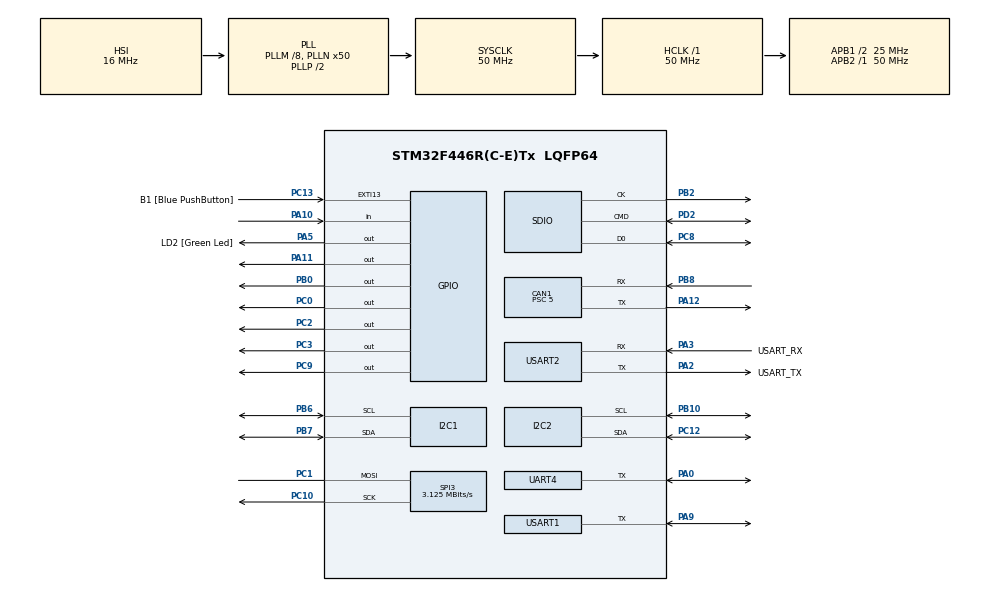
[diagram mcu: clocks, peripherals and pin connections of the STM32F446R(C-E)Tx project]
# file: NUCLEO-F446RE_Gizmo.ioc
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CAN1.BS1=CAN_BS1_8TQ
CAN1.CalculateBaudRate=500000
CAN1.CalculateTimeBit=2000
CAN1.CalculateTimeQuantum=200.0
CAN1.Mode=CAN_MODE_NORMAL
CAN1.Prescaler=5
CAN1.SJW=CAN_SJW_1TQ
Dma.Request0=USART2_RX
Dma.Request1=USART2_TX
Dma.USART2_RX.0.Direction=DMA_PERIPH_TO_MEMORY
Dma.USART2_RX.0.FIFOMode=DMA_FIFOMODE_DISABLE
Dma.USART2_RX.0.Instance=DMA1_Stream5
Dma.USART2_RX.0.MemDataAlignment=DMA_MDATAALIGN_BYTE
Dma.USART2_RX.0.MemInc=DMA_MINC_ENABLE
Dma.USART2_RX.0.Mode=DMA_NORMAL
Dma.USART2_RX.0.PeriphDataAlignment=DMA_PDATAALIGN_BYTE
Dma.USART2_RX.0.PeriphInc=DMA_PINC_DISABLE
Dma.USART2_RX.0.Priority=DMA_PRIORITY_LOW
Dma.USART2_TX.1.Direction=DMA_MEMORY_TO_PERIPH
Dma.USART2_TX.1.FIFOMode=DMA_FIFOMODE_DISABLE
Dma.USART2_TX.1.Instance=DMA1_Stream6
Dma.USART2_TX.1.MemDataAlignment=DMA_MDATAALIGN_BYTE
Dma.USART2_TX.1.MemInc=DMA_MINC_ENABLE
Dma.USART2_TX.1.Mode=DMA_NORMAL
Dma.USART2_TX.1.PeriphDataAlignment=DMA_PDATAALIGN_BYTE
Dma.USART2_TX.1.PeriphInc=DMA_PINC_DISABLE
Dma.USART2_TX.1.Priority=DMA_PRIORITY_LOW
FATFS.BSP.number=1
FATFS._MAX_SS=4096
FATFS._USE_LFN=1
FATFS0.BSP.STBoard=false
FATFS0.BSP.api=Unknown
FATFS0.BSP.instance=PA10
FATFS0.BSP.ip=GPIO
FATFS0.BSP.mode=Input
FATFS0.BSP.name=Detect_SDIO
FATFS0.BSP.solution=PA10
I2C1.I2C_Mode=I2C_Standard
Mcu.Family=STM32F4
Mcu.Name=STM32F446R(C-E)Tx
Mcu.Package=LQFP64
NVIC.CAN1_RX0_IRQn=true\:0\:0\:false\:false\:true\:true\:true\:true
NVIC.DMA1_Stream5_IRQn=true\:0\:0\:false\:false\:true\:false\:true\:true
NVIC.DMA1_Stream6_IRQn=true\:0\:0\:false\:false\:true\:false\:true\:true
NVIC.PriorityGroup=NVIC_PRIORITYGROUP_0
NVIC.RTC_Alarm_IRQn=true\:0\:0\:false\:false\:true\:true\:true\:true
NVIC.SPI3_IRQn=true\:0\:0\:false\:false\:true\:true\:true\:true
NVIC.USART2_IRQn=true\:0\:0\:false\:false\:true\:true\:true\:true
PA0-WKUP.GPIO_PuPd=GPIO_PULLUP
PA0-WKUP.Mode=Half_duplex(single_wire_mode)
PA0-WKUP.Signal=UART4_TX
PA10.GPIO_PuPd=GPIO_PULLDOWN
PA10.Signal=GPIO_Input
PA11.Signal=GPIO_Output
PA12.Mode=CAN_Activate
PA12.Signal=CAN1_TX
PA13.GPIO_Label=TMS
PA13.Mode=Serial_Wire
PA13.Signal=SYS_JTMS-SWDIO
PA14.GPIO_Label=TCK
PA14.Mode=Serial_Wire
PA14.Signal=SYS_JTCK-SWCLK
PA2.GPIO_Label=USART_TX
PA2.Mode=Asynchronous
PA2.Signal=USART2_TX
PA3.GPIO_Label=USART_RX
PA3.Mode=Asynchronous
PA3.Signal=USART2_RX
PA5.GPIO_Label=LD2 [Green Led]
PA5.Signal=GPIO_Output
PA9.GPIO_PuPd=GPIO_PULLUP
PA9.Mode=Half_duplex(single_wire_mode)
PA9.Signal=USART1_TX
PB0.Signal=GPIO_Output
PB10.GPIO_Pu=GPIO_PULLUP
PB10.Mode=I2C
PB10.Signal=I2C2_SCL
PB2.Mode=SD_1_bit
PB2.Signal=SDIO_CK
PB3.GPIO_Label=SWO
PB3.Signal=SYS_JTDO-SWO
PB6.GPIO_Pu=GPIO_PULLUP
PB6.Mode=I2C
PB6.Signal=I2C1_SCL
PB7.GPIO_Pu=GPIO_PULLUP
PB7.Mode=I2C
PB7.Signal=I2C1_SDA
PB8.GPIO_PuPd=GPIO_PULLUP
PB8.Mode=CAN_Activate
PB8.Signal=CAN1_RX
PC0.Signal=GPIO_Output
PC1.Mode=Simplex_Bidirectional_Master
PC1.Signal=SPI3_MOSI
PC10.Mode=Simplex_Bidirectional_Master
PC10.Signal=SPI3_SCK
PC12.GPIO_Pu=GPIO_PULLUP
PC12.Mode=I2C
PC12.Signal=I2C2_SDA
PC13.GPIO_Label=B1 [Blue PushButton]
PC13.GPIO_ModeDefaultEXTI=GPIO_MODE_IT_FALLING
PC13.Signal=GPXTI13
PC14-OSC32_IN.Mode=LSE-External-Oscillator
PC14-OSC32_IN.Signal=RCC_OSC32_IN
PC15-OSC32_OUT.Mode=LSE-External-Oscillator
PC15-OSC32_OUT.Signal=RCC_OSC32_OUT
PC2.Signal=GPIO_Output
PC3.Signal=GPIO_Output
PC8.GPIO_PuPd=GPIO_PULLUP
PC8.Mode=SD_1_bit
PC8.Signal=SDIO_D0
PC9.Signal=GPIO_Output
PD2.GPIO_PuPd=GPIO_PULLUP
PD2.Mode=SD_1_bit
PD2.Signal=SDIO_CMD
PH0-OSC_IN.Mode=HSE-External-Oscillator
PH0-OSC_IN.Signal=RCC_OSC_IN
PH1-OSC_OUT.Mode=HSE-External-Oscillator
PH1-OSC_OUT.Signal=RCC_OSC_OUT
ProjectManager.HeapSize=0x200
ProjectManager.StackSize=0x400
ProjectManager.TargetToolchain=STM32CubeIDE
RCC.48MHZClocksFreq_Value=84000000
RCC.AHBFreq_Value=50000000
RCC.APB1CLKDivider=RCC_HCLK_DIV2
RCC.APB1Freq_Value=25000000
RCC.APB1TimFreq_Value=50000000
RCC.APB2Freq_Value=50000000
RCC.APB2TimFreq_Value=50000000
RCC.CortexFreq_Value=50000000
RCC.FLatency-AdvancedSettings=FLASH_LATENCY_1
RCC.HCLKFreq_Value=50000000
RCC.HSE_VALUE=8000000
RCC.HSI_VALUE=16000000
RCC.PLLM=8
RCC.PLLN=50
RCC.PLLQ=3
RCC.SYSCLKFreq_VALUE=50000000
RCC.SYSCLKSource=RCC_SYSCLKSOURCE_PLLCLK
RCC.USBFreq_Value=33333333.333333332
RCC.VCOOutputFreq_Value=100000000
RTC.Alarm=RTC_ALARM_A
RTC.AlarmMaskDateWeekDay=RTC_ALARMMASK_DATEWEEKDAY
RTC.Hours=23
RTC.Hours_A=23
RTC.Minutes_A=59
RTC.Seconds_A=59
RTC.Year=25
SDIO.ClockDiv=2
SPI3.BaudRatePrescaler=SPI_BAUDRATEPRESCALER_8
SPI3.CalculateBaudRate=3.125 MBits/s
SPI3.Direction=SPI_DIRECTION_1LINE
SPI3.Mode=SPI_MODE_MASTER
SPI3.VirtualType=VM_MASTER
UART4.BaudRate=1000000
UART4.OverSampling=UART_OVERSAMPLING_16
UART4.VirtualMode=Asynchronous
USART1.BaudRate=1000000
USART1.VirtualMode=VM_ASYNC
USART2.VirtualMode=VM_ASYNC
VP_FATFS_VS_SDIO.Mode=SDIO
VP_RTC_VS_RTC_Activate.Mode=RTC_Enabled
VP_RTC_VS_RTC_Alarm_A_Intern.Mode=Alarm A
VP_RTC_VS_RTC_Calendar.Mode=RTC_Calendar
board=NUCLEO-F446RE

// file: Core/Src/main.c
/* USER CODE BEGIN Header */
/**
  ******************************************************************************
  * @file           : main.c
  * @brief          : Main program body
  ******************************************************************************
  * @attention
  *
  * Copyright (c) 2024 STMicroelectronics.
  * All rights reserved.
  *
  * This software is licensed under terms that can be found in the LICENSE file
  * in the root directory of this software component.
  * If no LICENSE file comes with this software, it is provided AS-IS.
  *
  ******************************************************************************
  */
/* USER CODE END Header */
#include "main.h"
#include "can.h"
#include "dma.h"
#include "fatfs.h"
#include "i2c.h"
#include "rtc.h"
#include "sdio.h"
#include "spi.h"
#include "usart.h"
#include "gpio.h"

/* USER CODE BEGIN Includes */
#include "sd_card.h"
#include "LCD_driver.h"
#include "error_codes.h"
#include "ADXL345.h"
#include "trig.h"
#include "ST3020_servo.h"
#include "system_logic.h"
#include <stdio.h>
/* USER CODE END Includes */

void SystemClock_Config(void);
/* USER CODE BEGIN PFP */

// Servo Functions
void ServoConfigure(uint8_t line);
void ServoRoutine(servo* servo);
ReturnCode Screen_ServoUpdate(servo* servo);

// Acc Functions
ReturnCode AccConfigure(uint8_t line);
void AccelometerRoutine(accelometer* acc);
void AccelometerPrepareTransmitData(accelometer* acc, uint8_t* data);

// CAN functions
ReturnCode CAN_Config();
void CAN_ConfigMsg(CAN_TxHeaderTypeDef *header,can* can, uint8_t is_response, COM_COMMAND cmd);
void CANRoutine(can* can);

// COM functions
ReturnCode COM_TransmitResponse(ReturnCode status, uint8_t *data, uint8_t bytes);
ReturnCode CAN_TransmitResponse(ReturnCode status, uint8_t *data, uint8_t bytes, COM_COMMAND cmd);
ReturnCode TransmitResponse(ReturnCode status, uint8_t *data, uint8_t bytes, COM_COMMAND cmd);
/* USER CODE END PFP */

/* USER CODE BEGIN 0 */
uint8_t module_id = 0x01;
uint8_t module_role = MODULE_CONTROLLER;

// Uart DMA
uint8_t tx_buffer_DMA[DMA_TX_SIZE];
uint8_t rx_buffer_DMA[DMA_RX_SIZE];
uint8_t header_received = 0x00;
uint8_t header_sent = 0x00;

//Peripherals
servo Servo0_struct, Servo1_struct;
accelometer Acc0_struct, Acc1_struct;

can Can_struct;
can* can0_struct;
CAN_TxHeaderTypeDef tx_header;
CAN_RxHeaderTypeDef rx_header;
uint32_t tx_mail;
CAN_FilterTypeDef can0_filter;

peripheral_state Servo0, Servo1, Acc0, Acc1, Can0;
peripheral_state *servo0, *servo1, *acc0, *acc1, *can0;

float acc0_angles[3];
float acc1_angles[3];
uint16_t servo0_tx_buff[3];
uint16_t servo1_tx_buff[3];
int16_t acc0_measurment[3];
int16_t acc1_measurment[3];
uint8_t can_tx_buffer[8];
uint8_t can_rx_buffer[8];

// SD
char msg_buffer[32];
/* USER CODE END 0 */

int main(void)
{

  /* MCU Configuration--------------------------------------------------------*/

  /* Reset of all peripherals, Initializes the Flash interface and the Systick. */
  HAL_Init();

  /* Configure the system clock */
  SystemClock_Config();

  /* Initialize all configured peripherals */
  MX_GPIO_Init();
  MX_DMA_Init();
  MX_USART2_UART_Init();
  MX_SDIO_SD_Init();
  MX_FATFS_Init();
  MX_SPI3_Init();
  MX_RTC_Init();
  MX_I2C1_Init();
  MX_UART4_Init();
  MX_CAN1_Init();
  MX_I2C2_Init();
  MX_USART1_UART_Init();
  /* USER CODE BEGIN 2 */
  	// Initialize peripherals
  	Screen_Init();
  	Screen_DrawInitScreen();

  	ServoConfigure(0x00);
  	//ServoConfigure(0x01);

  	AccConfigure(0x00);
  	AccConfigure(0x01);

  	InitLogging(&hrtc);
  	Screen_DrawNextInit(SD);

  	// Go into work mode
	Screen_DrawInfoScreen();
	HAL_UART_Receive_DMA(&huart2, rx_buffer_DMA, 1);

	ServoSetPos(0x00, 0x00, 3400, 10);
	ServoChangeMode(0x00, 0x00);
	ServoRead(0x00, 33, servo0_tx_buff, 1);
  /* USER CODE END 2 */

  /* Infinite loop */
  /* USER CODE BEGIN WHILE */
  while (1)
  {
	  if(module_role == MODULE_CONTROLLER)
		  CANRoutine(can0_struct);
	  ServoRoutine(&Servo0_struct);
	  ServoRoutine(&Servo1_struct);
	  AccelometerRoutine(&Acc0_struct);
	  AccelometerRoutine(&Acc1_struct);
    /* USER CODE END WHILE */

  }
}

void SystemClock_Config(void)
{
  RCC_OscInitTypeDef RCC_OscInitStruct = {0};
  RCC_ClkInitTypeDef RCC_ClkInitStruct = {0};

  /** Configure the main internal regulator output voltage
  */
  __HAL_RCC_PWR_CLK_ENABLE();
  __HAL_PWR_VOLTAGESCALING_CONFIG(PWR_REGULATOR_VOLTAGE_SCALE3);

  /** Initializes the RCC Oscillators according to the specified parameters
  * in the RCC_OscInitTypeDef structure.
  */
  RCC_OscInitStruct.OscillatorType = RCC_OSCILLATORTYPE_HSI|RCC_OSCILLATORTYPE_LSI;
  RCC_OscInitStruct.LSEState = RCC_LSE_ON;
  RCC_OscInitStruct.HSIState = RCC_HSI_ON;
  RCC_OscInitStruct.HSICalibrationValue = RCC_HSICALIBRATION_DEFAULT;
  RCC_OscInitStruct.LSIState = RCC_LSI_ON;
  RCC_OscInitStruct.PLL.PLLState = RCC_PLL_ON;
  RCC_OscInitStruct.PLL.PLLSource = RCC_PLLSOURCE_HSI;
  RCC_OscInitStruct.PLL.PLLM = 8;
  RCC_OscInitStruct.PLL.PLLN = 50;
  RCC_OscInitStruct.PLL.PLLP = RCC_PLLP_DIV2;
  RCC_OscInitStruct.PLL.PLLQ = 3;
  RCC_OscInitStruct.PLL.PLLR = 2;
  if (HAL_RCC_OscConfig(&RCC_OscInitStruct) != HAL_OK)
  {
    Error_Handler();
  }

  /** Initializes the CPU, AHB and APB buses clocks
  */
  RCC_ClkInitStruct.ClockType = RCC_CLOCKTYPE_HCLK|RCC_CLOCKTYPE_SYSCLK
                              |RCC_CLOCKTYPE_PCLK1|RCC_CLOCKTYPE_PCLK2;
  RCC_ClkInitStruct.SYSCLKSource = RCC_SYSCLKSOURCE_PLLCLK;
  RCC_ClkInitStruct.AHBCLKDivider = RCC_SYSCLK_DIV1;
  RCC_ClkInitStruct.APB1CLKDivider = RCC_HCLK_DIV2;
  RCC_ClkInitStruct.APB2CLKDivider = RCC_HCLK_DIV1;

  if (HAL_RCC_ClockConfig(&RCC_ClkInitStruct, FLASH_LATENCY_1) != HAL_OK)
  {
    Error_Handler();
  }
}

/* USER CODE BEGIN 4 */
ReturnCode TransmitResponse(ReturnCode status, uint8_t *data, uint8_t bytes, COM_COMMAND cmd)
{
	if (module_role == MODULE_CONTROLLER)
		return COM_TransmitResponse(status, data, bytes);
	else
	{
		return CAN_TransmitResponse(status, data, bytes, cmd);
	}
}

ReturnCode COM_TransmitResponse(ReturnCode status, uint8_t *data, uint8_t bytes)
{
	if (module_role == MODULE_TARGET)
		return G_SUCCESS;

	uint8_t checksum = 0;
	uint8_t transmit_size = 4;

	if (bytes - 4 > DMA_TX_SIZE)
	{
		// If transmit too big output error
		transmit_size = 4;
		status = G_COM_OVERFLOW;
	}
	else if( data != NULL)
	{
		for(uint16_t i = 0; i < bytes; i++)
		{
			// Write data to TX buffer
			tx_buffer_DMA[i + 3] = *(data + i);
			transmit_size++;

			// Increment checksum
			checksum += *(data + i);
		}
	}

	checksum += transmit_size + module_id + status;
	checksum = ~checksum;

	// Fill in standard frame
	tx_buffer_DMA[0] = transmit_size;
	tx_buffer_DMA[1] = module_id;
	tx_buffer_DMA[2] = status;
	tx_buffer_DMA[transmit_size - 1] = checksum;

	header_sent = 0x01;
	if ( HAL_UART_Transmit_DMA(&huart2, tx_buffer_DMA, 1) != HAL_OK )
		return G_COM_TRANSMIT;

	return G_SUCCESS;
}

ReturnCode Screen_ServoUpdate(servo* servo)
{
	float last_write = (servo->last_write_pos) * 360 / 4095;
	float last_read = (servo->last_read_pos) * 360 / 4095;
	float data[] = {last_write, last_read};

	return Screen_UpdateData( ((servo->servo_line == 0x00) ? SERVO_0: SERVO_1), data, 2);
}

void ServoConfigure(uint8_t line)
{
	if(line == 0x00)
	{
		servo0 = &Servo0;
		Servo0_struct.tx_buffer = servo0_tx_buff;
		Servo0_struct.servo_line = line;
		Servo0_struct.state = servo0;

		Servo_AddControler(0x00, &huart4);
	}
	else if(line == 0x01)
	{
		servo1 = &Servo1;
		Servo1_struct.tx_buffer = servo1_tx_buff;
		Servo1_struct.servo_line = line;
		Servo1_struct.state = servo1;

		Servo_AddControler(0x00, &huart1);
	}
	else
		return;

	ServoSetPos(line, 0x00, 500, 10);
	Screen_DrawNextInit(line==0x00 ? SERVO_0 : SERVO_1);
}

void ServoRoutine(servo *servo)
{
	peripheral_state *per_state = servo->state;

	switch( per_state->state )
	{
		case PER_IDLE:
			return;

		case PER_ERROR:
		{
			// Log error
			per_state->state = PER_IDLE;
			per_state->cmd = COM_IDLE;
			SD_LogStatus(per_state->last_code);
			return;
		}

		case PER_DONE:
		{
			// Log success
			per_state->state = PER_IDLE;
			per_state->cmd = COM_IDLE;

			return;
		}

		case PER_WORKING:
		{
			if( per_state->cmd == COM_SERVO_POS_SET )
			{
				int16_t pos = *(servo->tx_buffer);

				if (pos > SERVO_MAX_ANGLE)
					pos = SERVO_MAX_ANGLE;
				else if (pos < -SERVO_MAX_ANGLE && pos < 0)
					pos = -SERVO_MAX_ANGLE;

				ReturnCode status = ServoSetPos(servo->servo_line, (uint16_t) pos, servo0_tx_buff[1], servo0_tx_buff[2]);
				PeripheralUpdateState(servo->state, status);

				status = TransmitResponse(status, NULL, 0, COM_SERVO_POS_SET);

				// Update value
				servo->last_write_pos = pos;

				// Log
				snprintf(msg_buffer, sizeof(msg_buffer), "S%02d write: %d\n", (uint8_t) servo->servo_line, pos);
				status =SD_LogMsg(msg_buffer);

				status = Screen_ServoUpdate(servo);
				return;
			}
			else if( per_state->cmd == COM_SERVO_POS_READ)
			{
				uint16_t pos;
				ReturnCode status = ServoCurrentPosition(servo->servo_line, &pos);
				PeripheralUpdateState(servo->state, status);

				if (status == G_SUCCESS)
				{
					// Translate pos into 2 bytes
					uint8_t buff[] = { (( pos & 0xFF00) >> 8), (pos & 0x0FF)};

					// Send response
					status = TransmitResponse(status, buff, 2, COM_SERVO_POS_READ);
				}
				else
				{
					status = TransmitResponse(status, NULL, 0, COM_SERVO_POS_READ);
				}

				// Update
				servo->last_read_pos = pos;

				// Log
				snprintf(msg_buffer, sizeof(msg_buffer), "S%02d read: %d\n", (uint8_t) servo->servo_line, pos);
				status = SD_LogMsg(msg_buffer);

				status = Screen_ServoUpdate(servo);
				return;
			}
			else if ( per_state->cmd == COM_SERVO_PING )
			{
				ReturnCode status = ServoPing(servo->servo_line, 0x01);
				PeripheralUpdateState(servo->state, status);
				status = TransmitResponse(status, NULL, 0, COM_SERVO_PING);

				// Log
				snprintf(msg_buffer, sizeof(msg_buffer), "S%02d status: %d\n", (uint8_t) servo->servo_line, status);
				SD_LogMsg(msg_buffer);

				status = Screen_UpdateStatus(((servo->servo_line == 0x00) ? SERVO_0: SERVO_1), per_state->last_code);
				return;
			}
			else if ( per_state->cmd == COM_SERVO_READ_TEMP )
			{
				uint8_t temp;
				ReturnCode status = ServoTemp(servo->servo_line, &temp);

				PeripheralUpdateState(servo->state, status);
				status = TransmitResponse(status, &temp, 1, COM_SERVO_READ_TEMP);

				// Log
				snprintf(msg_buffer, sizeof(msg_buffer), "S%02d temp: %d\n", (uint8_t) servo->servo_line, temp);
				status = SD_LogMsg(msg_buffer);

				return;
			}
		}
		default:
			return;
	}
	return;
}

ReturnCode AccConfigure(uint8_t line)
{
	ReturnCode status;
	if(line == 0x00)
	{
		acc0 = &Acc0;
		Acc0_struct.angles = acc0_angles;
		Acc0_struct.raw_measurement = acc0_measurment;
		Acc0_struct.acc_line = line;
		Acc0_struct.state = acc0;

		status = Acc_AddController(&hi2c1, line);
		if(status != G_SUCCESS)
			return status;

		status = Acc_SelfTest(acc0_measurment, 0x00);
		if(status != G_SUCCESS)
			return status;

	}
	else if(line == 0x01)
	{
		acc1 = &Acc1;
		Acc1_struct.angles = acc1_angles;
		Acc1_struct.raw_measurement = acc1_measurment;
		Acc1_struct.acc_line = line;
		Acc1_struct.state = acc1;

		status = Acc_AddController(&hi2c2, line);
		if(status != G_SUCCESS)
			return status;

		status = Acc_SelfTest(acc1_measurment, 0x01);
		if(status != G_SUCCESS)
			return status;
	}
	else
		return;

	Screen_DrawNextInit( line == 0x00 ? ACC_0 : ACC_1);
}

void AccelometerPrepareTransmitData(accelometer* acc, uint8_t* data)
{
	for( uint8_t i = 0; i<3; i++)
	{
		float angle = *(acc->angles + i);
		float temp;
		if(angle < 0)
		{
			angle = -angle;
			*(data + 2*i + 1) = ((uint8_t) angle) | (0x01 << 7);
		}
		else
		{
			*(data + 2*i + 1) = ((uint8_t) angle);
		}

		temp = angle * 100 - ((int) angle) * 100;
		*(data + 2*i) = (uint8_t) temp;
	}
}

void AccelometerRoutine(accelometer* acc)
{
	peripheral_state *per_state = acc->state;

	switch( per_state->state )
	{
		case PER_IDLE:
			return;

		case PER_ERROR:
		{
			// Log error
			per_state->state = PER_IDLE;
			per_state->cmd = COM_IDLE;
			SD_LogStatus(per_state->last_code);
			return;
		}

		case PER_DONE:
		{
			// Log success
			per_state->state = PER_IDLE;
			per_state->cmd = COM_IDLE;

			return;
		}

		case PER_WORKING:
		{
			if( per_state->cmd == COM_ACC_ANGLES_READ )
			{

				ReturnCode status = Acc_AvgMeasurment(acc->raw_measurement, 32, acc->acc_line);
				if(status != G_SUCCESS)
				{
					PeripheralUpdateState(per_state, status);
					status = TransmitResponse(status, NULL, 0, COM_ACC_ANGLES_READ);

					return;

				}

				// Calculate angles
				GetTiltAngles(acc->angles, acc->raw_measurement);

				uint8_t data[6];
				AccelometerPrepareTransmitData(acc, data);
				PeripheralUpdateState(per_state, status);

				status = TransmitResponse(status, data, 6, COM_ACC_ANGLES_READ);

				// Log
				snprintf(msg_buffer, sizeof(msg_buffer), "A%02d: %2.2f %2.2f %2.2f\n", acc->acc_line, *(acc->angles), *(acc->angles + 1), *(acc->angles + 2));
				status = SD_LogMsg(msg_buffer);

				status = Screen_UpdateData((acc->acc_line == 0x00 ? ACC_0 : ACC_1) , acc->angles, 3);
				return;
			}
			else if ( per_state->cmd == COM_ACC_STATUS)
			{
				ReturnCode status ;

				status = TransmitResponse(status, NULL, 0, COM_ACC_STATUS);
				PeripheralUpdateState(per_state, G_SUCCESS);

				// Log
				status = SD_LogStatus(per_state->last_code);

				status = Screen_UpdateStatus((acc->acc_line == 0x00 ? ACC_0 : ACC_1) , per_state->last_code);
				return;
			}
		}

		default:
			return;
	}
	return;
}

ReturnCode CAN_Config()
{
	// Init
	can0 = &Can0;
	Can_struct.state = can0;
	Can_struct.tx_buffer = can_tx_buffer;
	Can_struct.rx_buffer = can_rx_buffer;

	can0_struct = &Can_struct;

	// Define filter
	can0_filter.FilterActivation = CAN_FILTER_ENABLE;
	can0_filter.FilterBank = 0x00;
	can0_filter.FilterFIFOAssignment = CAN_FILTER_FIFO0;
	can0_filter.FilterScale = CAN_FILTERSCALE_32BIT;
	can0_filter.FilterMode = CAN_FILTERMODE_IDMASK;
	can0_filter.FilterMaskIdHigh = 0x00;
	can0_filter.FilterMaskIdLow = 0x00;
	//can0_filter.FilterIdHigh = 0x00;
	//can0_filter.FilterIdLow = module_id;

	/*
	// Add filter
	if ( HAL_CAN_ConfigFilter(&hcan1, &can0_filter) != HAL_OK)
		return C_CAN_CONFIG;

	// Start CAN
	if (HAL_CAN_Start(&hcan1) != HAL_OK)
		return C_CAN_CONFIG;

	// Add interrupt on msg received
	if( HAL_CAN_ActivateNotification(&hcan1, CAN_IT_RX_FIFO0_MSG_PENDING) != HAL_OK)
		return C_CAN_CONFIG;
	*/
	return G_SUCCESS;
}

void CAN_ConfigMsg(CAN_TxHeaderTypeDef *header, can* can, uint8_t is_response, COM_COMMAND cmd)
{
	// Get proper identifier
	header->StdId =  ((can->weight) << 8) | (can->receiver_id);

	if (is_response == 0x00)
	{
		// Get data length
		switch(cmd)
		{
			case COM_SERVO_POS_SET:
				header->DLC = 8;
				break;
			default:
				header->DLC = 2;
				break;
		}
	}
	else
	{
		// Get data length
		switch(cmd)
		{
			case COM_SERVO_POS_SET:
				header->DLC = 3;
				break;
			case COM_ACC_ANGLES_READ:
				header->DLC = 7;
				break;
			default:
				header->DLC = 2;
				break;
		}
	}

	header->RTR = CAN_RTR_DATA;
}

ReturnCode CAN_TransmitResponse(ReturnCode status, uint8_t *data, uint8_t bytes, COM_COMMAND cmd)
{
	if (bytes > 7)
		return C_CAN_OVERFLOW;

	can0_struct->weight = CAN_WRITE;
	*(can0_struct->tx_buffer) = cmd;
	CAN_ConfigMsg(&tx_header, can0_struct, 0x01, cmd);

	for(uint8_t i = 0; i < bytes; i++)
	{
		*(can0_struct->tx_buffer + i + 1) = *(data + i);
	}

	if ( HAL_CAN_AddTxMessage(&hcan1, &tx_header, can0_struct->tx_buffer, &tx_mail) != HAL_OK)
		return C_CAN_TXADD;

	return G_SUCCESS;
}

void CANRoutine(can* can)
{
	peripheral_state *per_state = can->state;

	switch( per_state->state )
	{
		case PER_IDLE:
			return;

		case PER_ERROR:
		{
			// Log error
			per_state->state = PER_IDLE;
			per_state->cmd = COM_IDLE;
			SD_LogStatus(per_state->last_code);
			return;
		}
		case PER_DONE:
		{
			// Log success
			per_state->state = PER_IDLE;
			per_state->cmd = COM_IDLE;

			return;
		}
		case PER_WORKING:
		{

			CAN_ConfigMsg(&tx_header, can, 0x00, (per_state->cmd));

			// Add new message
			if ( HAL_CAN_AddTxMessage(&hcan1, &tx_header, can->tx_buffer, &tx_mail) != HAL_OK)
				PeripheralUpdateState(can->state, C_CAN_TXADD);

			// Log
			snprintf(msg_buffer, sizeof(msg_buffer), "CAN transmit: %d\n", can->state->cmd);
			ReturnCode status = SD_LogMsg(msg_buffer);

			can->finished_trans = 0x00;
			per_state->state = PER_WAITING;
			return;
		}
		case PER_WAITING:
		{
			// Wait for response from other module
			if (can->finished_trans == 0x00)
				return;

			// If there was an error return status
			if(per_state->last_code != G_SUCCESS)
				COM_TransmitResponse(per_state->last_code, NULL, 0);

			// If operation was successful sent results
			uint8_t number_bytes = 0;
			switch( *(can->rx_buffer))
			{
				case COM_SERVO_READ_TEMP:
					number_bytes = 1;
					break;
				case COM_SERVO_POS_READ:
					number_bytes = 2;
					break;
				case COM_ACC_ANGLES_READ:
					number_bytes = 6;
					break;
				default:
					number_bytes = 0;
					break;
			}

			if (number_bytes == 0)
				COM_TransmitResponse(per_state->last_code, NULL, 0);
			else
				COM_TransmitResponse(per_state->last_code, (can->rx_buffer + 1), number_bytes);

			// Update state
			PeripheralUpdateState(per_state, G_SUCCESS);

		}
		default:
			return;
	}
	return;
}

void HAL_UART_RxCpltCallback(UART_HandleTypeDef *huart)
{
	if( huart == &huart2)
	{
		// First messege wasn't received yet
		if(header_received == 0x00)
		{
			HAL_UART_Receive_DMA(&huart2, rx_buffer_DMA + 1, rx_buffer_DMA[0] - 1);
			header_received = 0x01;
		}
		else
		{
			// Change state of correct peripheral
			UART_Decode(rx_buffer_DMA);

			HAL_UART_Receive_DMA(&huart2, rx_buffer_DMA, 1);
			header_received = 0x00;
		}
	}
}

void HAL_UART_TxCpltCallback(UART_HandleTypeDef *huart)
{
	if (huart == &huart2)
	{
		if(header_sent == 0x01)
		{
			header_sent = 0x00;
			HAL_UART_Transmit_DMA(&huart2, tx_buffer_DMA + 1, tx_buffer_DMA[0] - 1);
		}
	}
}

void HAL_CAN_RxFifo0MsgPendingCallback(CAN_HandleTypeDef *hcan )
{
	if( HAL_CAN_GetRxMessage(hcan, CAN_RX_FIFO0, &rx_header, (can0_struct->rx_buffer)) != HAL_OK)
	{
		PeripheralUpdateState(can0, C_CAN_READ);
		return;
	}

	if (module_role == MODULE_CONTROLLER)
	{
		if ( can0->cmd != *(can0_struct->rx_buffer))
		{
			PeripheralUpdateState(can0, C_CAN_READ);
			return;
		}

		PeripheralUpdateState(can0, G_SUCCESS);
		can0_struct->finished_trans = 0x01;
	}
	else
	{
		if( (rx_header.StdId & 0x0F) != module_id)
		{
			PeripheralUpdateState(can0, C_CAN_READ);
			return;
		}

		ReturnCode code = CAN_Decode(can0_struct->rx_buffer, rx_header.DLC - 1);
		if (code != G_SUCCESS)
		{
			// Error handling
			PeripheralUpdateState(can0, code);
			return;
		}

		PeripheralUpdateState(can0, G_SUCCESS);
		can0_struct->finished_trans = 0x01;
	}
}

void HAL_RTC_AlarmAEventCallback(RTC_HandleTypeDef *handle)
{
	SD_AlarmRoutine();
}
/* USER CODE END 4 */

void Error_Handler(void)
{
  __disable_irq();
  while (1)
  {
  }
}
